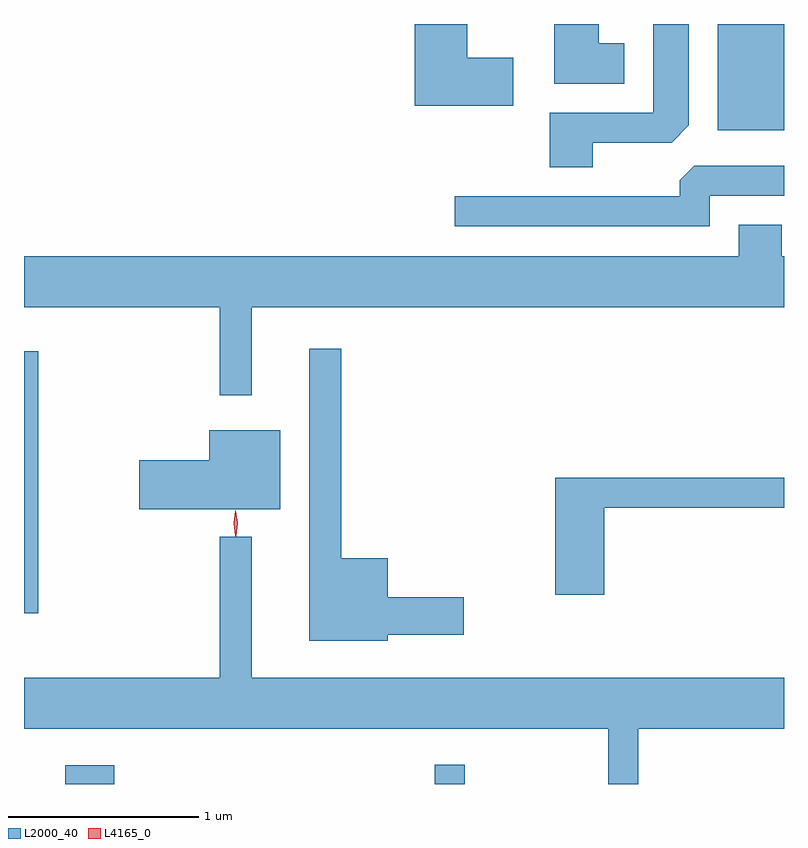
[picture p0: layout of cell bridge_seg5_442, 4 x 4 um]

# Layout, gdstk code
import gdstk
lib = gdstk.Library(unit=1e-6, precision=1e-09)
def R(c, l, rs):  # rectangles x0, y0, x1, y1
    for r in rs: c.add(gdstk.rectangle(r[:2], r[2:], *l))
def P(c, l, *ps):  # polygons
    for p in ps: c.add(gdstk.Polygon(p, *l))
L2000_40 = (2000, 40)
L4165_0 = (4165, 0)

bridge_seg5_442 = lib.new_cell('bridge_seg5_442')
R(bridge_seg5_442, L2000_40, [(509.796,1456.506,510.054,1456.604), (511.741,1456.506,511.899,1456.608), (509.58,1457.406,509.654,1458.784), (513.231,1459.946,513.58,1460.506)])
P(bridge_seg5_442, L2000_40, [(512.574,1459.881),(512.989,1459.881),(513.079,1459.972),(513.079,1460.506),(512.891,1460.506),(512.891,1460.039),(512.346,1460.039),(512.346,1459.751),(512.574,1459.751)],
  [(512.739,1460.404),(512.604,1460.404),(512.604,1460.506),(512.371,1460.506),(512.371,1460.191),(512.739,1460.191)],
  [(512.154,1460.329),(511.914,1460.329),(511.914,1460.506),(511.636,1460.506),(511.636,1460.076),(512.154,1460.076)],
  [(513.189,1459.601),(513.58,1459.601),(513.58,1459.759),(513.107,1459.759),(513.031,1459.684),(513.031,1459.599),(511.848,1459.599),(511.848,1459.441),(513.189,1459.441)],
  [(510.779,1459.016),(513.58,1459.016),(513.58,1459.284),(513.569,1459.284),(513.569,1459.449),(513.341,1459.449),(513.341,1459.284),(509.58,1459.284),(509.58,1459.016),(510.611,1459.016),(510.611,1458.553),(510.779,1458.553)],
  [(511.494,1457.291),(511.894,1457.291),(511.894,1457.489),(511.494,1457.489),(511.494,1457.694),(511.249,1457.694),(511.249,1458.798),(511.081,1458.798),(511.081,1457.261),(511.494,1457.261)],
  [(510.929,1458.369),(510.556,1458.369),(510.556,1458.209),(510.186,1458.209),(510.186,1457.951),(510.929,1457.951)],
  [(512.634,1457.961),(513.58,1457.961),(513.58,1458.119),(512.376,1458.119),(512.376,1457.501),(512.634,1457.501)],
  [(512.814,1456.796),(513.58,1456.796),(513.58,1457.064),(510.779,1457.064),(510.779,1457.808),(510.611,1457.808),(510.611,1457.064),(509.58,1457.064),(509.58,1456.796),(512.656,1456.796),(512.656,1456.506),(512.814,1456.506)])
P(bridge_seg5_442, L4165_0, [(510.694,1457.81),(510.684,1457.878),(510.693,1457.945),(510.694,1457.946),(510.694,1457.945),(510.704,1457.878),(510.696,1457.81),(510.695,1457.81)],
  [(510.692,1457.813),(510.683,1457.876),(510.692,1457.939),(510.693,1457.94),(510.693,1457.939),(510.703,1457.876),(510.693,1457.813),(510.693,1457.813)])

lib.write_gds('bridge_seg5_442.gds')
